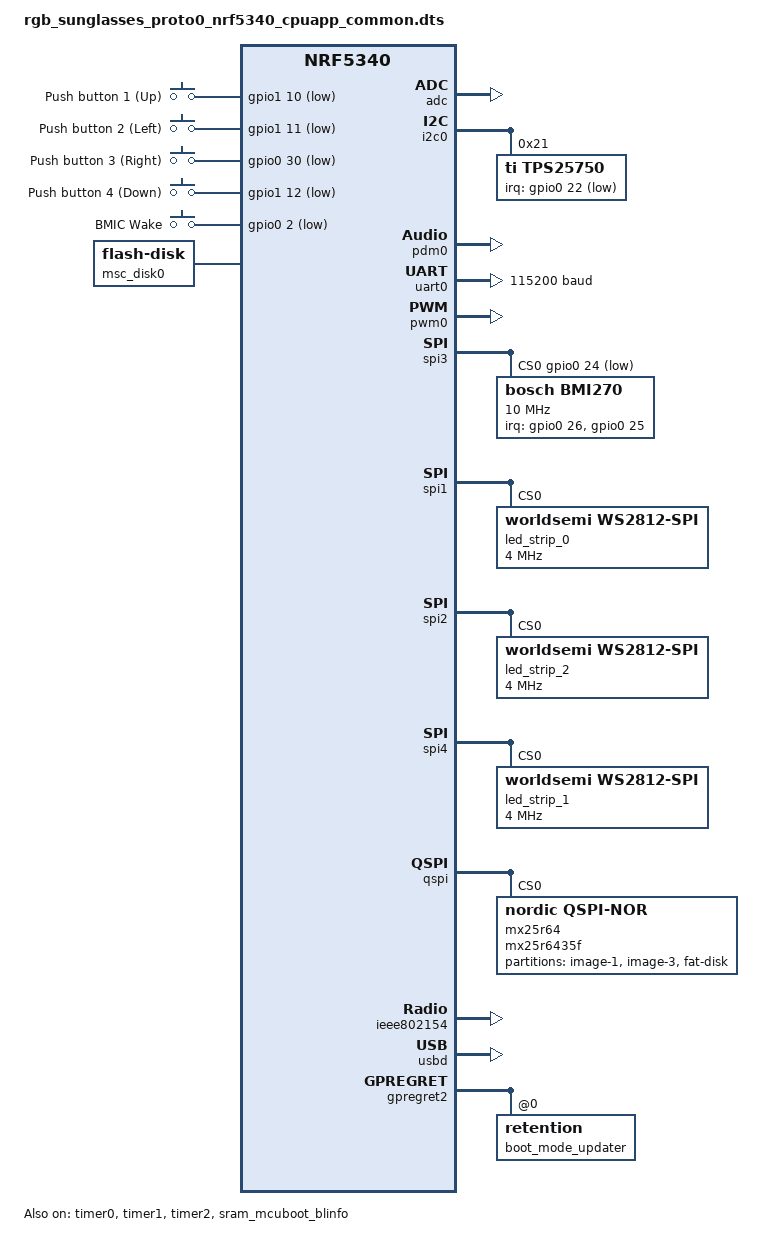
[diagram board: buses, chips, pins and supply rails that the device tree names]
/*
 * Copyright (c) 2019-2020 Nordic Semiconductor ASA
 *
 * SPDX-License-Identifier: Apache-2.0
 */
#include "rgb_sunglasses_proto0_nrf5340_cpuapp_common-pinctrl.dtsi"

#include <freq.h>
#include <zephyr/dt-bindings/led/led.h>
#include <zephyr/dt-bindings/spi/spi.h>

/ {

	chosen {
		zephyr,console = &cdc_acm_uart0;
		zephyr,shell-uart = &cdc_acm_uart0;
		zephyr,uart-mcumgr = &cdc_acm_uart1;
		//zephyr,bt-mon-uart = &uart0; // @skalldri what does this do?
		//zephyr,bt-c2h-uart = &uart0; // @skalldri what does this do?
		zephyr,bt-hci = &bt_hci_ipc0;
		nordic,802154-spinel-ipc = &ipc0;
		zephyr,ieee802154 = &ieee802154;
		nordic,pm-ext-flash = &mx25r64;
		/* Do NOT add zephyr,settings-partition here. NCS replaces flash_map_default.c with
		 * flash_map_partition_manager.c (PM IDs, not DTS IDs). flash_map_pm.h redefines
		 * FIXED_PARTITION_ID(storage_partition) → PM_SETTINGS_STORAGE_ID = 9, so
		 * settings_nvs.c's fallback path already routes to the correct external flash region
		 * at 0x11c000. Adding zephyr,settings-partition would switch to DT_FIXED_PARTITION_ID
		 * which collides with PM IDs and opens the wrong partition. */
	};

	/*leds {
		compatible = "gpio-leds";
		led0: led_0 {
			gpios = <&gpio0 28 GPIO_ACTIVE_LOW>;
			label = "Green LED 0";
		};
		led1: led_1 {
			gpios = <&gpio0 29 GPIO_ACTIVE_LOW>;
			label = "Green LED 1";
		};
		led2: led_2 {
			gpios = <&gpio0 30 GPIO_ACTIVE_LOW>;
			label = "Green LED 2";
		};
		led3: led_3 {
			gpios = <&gpio0 31 GPIO_ACTIVE_LOW>;
			label = "Green LED 3";
		};
	};*/

	/*pwmleds {
		compatible = "pwm-leds";
		pwm_led0: pwm_led_0 {
			pwms = <&pwm0 0 PWM_MSEC(20) PWM_POLARITY_INVERTED>;
		};
	};*/

	buttons {
		compatible = "gpio-keys";
		button0: button_0 {
			gpios = <&gpio1 10 (GPIO_PULL_UP | GPIO_ACTIVE_LOW)>;
			label = "Push button 1 (Up)";
		};
		button1: button_1 {
			gpios = <&gpio1 11 (GPIO_PULL_UP | GPIO_ACTIVE_LOW)>;
			label = "Push button 2 (Left)";
		};
		button2: button_2 {
			gpios = <&gpio0 30 (GPIO_PULL_UP | GPIO_ACTIVE_LOW)>;
			label = "Push button 3 (Right)";
		};
		button3: button_3 {
			gpios = <&gpio1 12 (GPIO_PULL_UP | GPIO_ACTIVE_LOW)>;
			label = "Push button 4 (Down)";
		};
		button4: bmic_wake {
			gpios = <&gpio0 2 (GPIO_PULL_UP | GPIO_ACTIVE_LOW)>;
			label = "BMIC Wake";
		};
	};

	gpio_fwd: nrf-gpio-forwarder {
		compatible = "nordic,nrf-gpio-forwarder";
		status = "okay";
		uart {
			gpios = <&gpio1 13 0>, <&gpio1 14 0>;
		};
	};

	/* These aliases are provided for compatibility with samples */
	aliases {
		/*led0 = &led0;
		led1 = &led1;
		led2 = &led2;
		led3 = &led3;
		pwm-led0 = &pwm_led0;*/
		sw0 = &button0;
		sw1 = &button1;
		sw2 = &button2;
		sw3 = &button3;
		sw-wake = &button4;
		/*bootloader-led0 = &led0;*/
		mcuboot-button0 = &button1;
		/*mcuboot-led0 = &led0;*/
		watchdog0 = &wdt0;
		led-strip-0 = &led_strip_0;
		led-strip-1 = &led_strip_1;
		led-strip-2 = &led_strip_2;
		spi-flash0 = &mx25r64;
		mic = &pdm0;
	};
};

/* configure VREGMAIN in DC/DC mode */
&vregmain {
	regulator-initial-mode = <NRF5X_REG_MODE_DCDC>;
};

/* configure VREGRADIO in DC/DC mode */
&vregradio {
	regulator-initial-mode = <NRF5X_REG_MODE_DCDC>;
};

/* mistake in the devkit. Didn't populate DCCH. Cannot use DCDC mode for the HV regulator */
&vregh {
	status = "disabled";
};

&adc {
	status = "okay";
};

&gpiote {
	status = "okay";
};

&gpio0 {
	status = "okay";
};

&gpio1 {
	status = "okay";
};

&i2c0 {
	compatible = "nordic,nrf-twim";
	status = "okay";
	pinctrl-0 = <&i2c0_default>;
	pinctrl-1 = <&i2c0_sleep>;
	pinctrl-names = "default", "sleep";

	tps25750: tps25750@21 {
		compatible = "ti,tps25750";
		reg = <0x21>; /* The address of the device in "normal" mode */
		patch-address = <0x15>; /* The address of the device during patch download */
		patch-chunk-size = <128>; /* the size of the packets sent during patch download */
		status = "okay";
		irq-gpios = <&gpio0 22 (GPIO_ACTIVE_LOW)>; /* Might need to add GPIO_PULL_UP or GPIO_PULL_DOWN here? */

		/* TPS25750 is also an I2C master. Define required properties */
		#address-cells = <1>;
		#size-cells = <0>;

		bq25792: bq25792@6b {
			compatible = "ti,bq25792";
			reg = <0x6B>;
			/* P1.04 = BQ25792 interrupt (active low) */
			irq-gpios = <&gpio1 4 (GPIO_ACTIVE_LOW)>;
			status = "okay";
		};
	};
};

&clock {
	hfclkaudio-frequency = <12288000>;
};

&pdm0 {
	status = "okay";
	pinctrl-0 = <&pdm0_default>;
	pinctrl-names = "default";
	/* Verified against real beat/fft_bars audio load (issue #75, k_mem_slab_max_used_get()):
	 * peak in-flight blocks stayed at 3 out of the previous 32+1 budget. 8 leaves ~2.6x margin. */
	queue-size = <8>;
	clock-source = "PCLK32M";
};

/* uart0 shares the hardware instance with i2c0 (TWIM0) on nRF5340 — cannot enable both.
 * The physical UART pins (P1.13=TX, P1.14=RX) are defined in pinctrl for future use,
 * but the peripheral is disabled here. Primary console is USB CDC ACM. */
&uart0 {
	//status = "okay";
	current-speed = <115200>;
	pinctrl-0 = <&uart0_default>;
	pinctrl-1 = <&uart0_sleep>;
	pinctrl-names = "default", "sleep";
};

&pwm0 {
	status = "okay";
	pinctrl-0 = <&pwm0_default>;
	pinctrl-1 = <&pwm0_sleep>;
	pinctrl-names = "default", "sleep";
};

&timer0 {
	status = "okay";
};

&timer1 {
	status = "okay";
};

&timer2 {
	status = "okay";
};

/* BMI270 6-axis IMU: P0.09=MOSI, P0.10=MISO, P0.12=SCK, P0.24=CS, P0.26=INT1, P0.25=INT2
 * Uses SPI3 (SPIM3): SPI0/SPIM0 shares the same hardware instance as I2C0/TWIM0 on nRF5340. */
&spi3 {
	status = "okay";
	pinctrl-0 = <&spi3_default>;
	pinctrl-1 = <&spi3_sleep>;
	pinctrl-names = "default", "sleep";
	cs-gpios = <&gpio0 24 GPIO_ACTIVE_LOW>;

	bmi270: bmi270@0 {
		compatible = "bosch,bmi270";
		reg = <0>;
		spi-max-frequency = <DT_FREQ_M(10)>;
		/* P0.26 = INT1, P0.25 = INT2 */
		irq-gpios = <&gpio0 26 GPIO_ACTIVE_HIGH>,
			    <&gpio0 25 GPIO_ACTIVE_HIGH>;
	};
};

led_strip_spi_0: &spi1 {
	status = "okay";
	pinctrl-0 = <&spi1_default>;
	pinctrl-1 = <&spi1_sleep>;
	pinctrl-names = "default", "sleep";

	// Attach our LED strip to SPI1
	led_strip_0: ws2812@0 {
		compatible = "worldsemi,ws2812-spi";
		status = "okay";

		/* SPI */
		reg = <0>; /* ignored, but necessary for SPI bindings */
		spi-max-frequency = <DT_FREQ_M(4)>;
		frame-format = <SPI_FRAME_FORMAT_TI>;

		/* WS2812 */
		chain-length = <216>; /* arbitrary; change at will */
		spi-one-frame = <0x70>;
		spi-zero-frame = <0x40>;
		color-mapping = <LED_COLOR_ID_GREEN LED_COLOR_ID_RED LED_COLOR_ID_BLUE>;
	};
};

/* Onboard status LEDs: 2x WS2812 on P1.01 */
led_strip_spi_2: &spi2 {
	status = "okay";
	pinctrl-0 = <&spi2_default>;
	pinctrl-1 = <&spi2_sleep>;
	pinctrl-names = "default", "sleep";

	led_strip_2: ws2812_2@0 {
		compatible = "worldsemi,ws2812-spi";
		status = "okay";

		/* SPI */
		reg = <0>;
		spi-max-frequency = <DT_FREQ_M(4)>;
		frame-format = <SPI_FRAME_FORMAT_TI>;

		/* WS2812 */
		chain-length = <2>;
		spi-one-frame = <0x70>;
		spi-zero-frame = <0x40>;
		color-mapping = <LED_COLOR_ID_GREEN LED_COLOR_ID_RED LED_COLOR_ID_BLUE>;
	};
};

led_strip_spi_1: &spi4 {
	status = "okay";
	pinctrl-0 = <&spi4_default>;
	pinctrl-1 = <&spi4_sleep>;
	pinctrl-names = "default", "sleep";

	// Attach our LED strip to SPI1
	led_strip_1: ws2812_1@0 {
		compatible = "worldsemi,ws2812-spi";
		status = "okay";

		/* SPI */
		reg = <0>; /* ignored, but necessary for SPI bindings */
		spi-max-frequency = <DT_FREQ_M(4)>;
		frame-format = <SPI_FRAME_FORMAT_TI>;

		/* WS2812 */
		chain-length = <216>; /* arbitrary; change at will */
		spi-one-frame = <0x70>;
		spi-zero-frame = <0x40>;
		color-mapping = <LED_COLOR_ID_GREEN LED_COLOR_ID_RED LED_COLOR_ID_BLUE>;
	};
};

/* FAT filesystem partition on the external QSPI flash, presented via USB Mass Storage.
 * Offset 0x12E000 within the MX25R64 device matches the PM fat_storage region.
 * The zephyr,flash-disk node wires this partition to the "NAND" disk driver so that
 * CONFIG_USB_MASS_STORAGE can expose it as a removable drive. */
/ {
	msc_disk0 {
		compatible = "zephyr,flash-disk";
		partition = <&fat_partition>;
		disk-name = "NAND";
		cache-size = <4096>;
	};
};

&qspi {
	status = "okay";
	pinctrl-0 = <&qspi_default>;
	pinctrl-1 = <&qspi_sleep>;
	pinctrl-names = "default", "sleep";

	/* MX25R6435F 64 Mbit QSPI NOR flash */
	mx25r64: mx25r6435f@0 {
		compatible = "nordic,qspi-nor";
		reg = <0>;
		/* proto0 has all 4 IO lines: use 4-bit read/write */
		writeoc = "pp4io";
		readoc = "read4io";
		sck-frequency = <8000000>;
		jedec-id = [c2 28 17];
		sfdp-bfp = [
			e5 20 f1 ff  ff ff ff 03  44 eb 08 6b  08 3b 04 bb
			ee ff ff ff  ff ff 00 ff  ff ff 00 ff  0c 20 0f 52
			10 d8 00 ff  23 72 f5 00  82 ed 04 cc  44 83 68 44
			30 b0 30 b0  f7 c4 d5 5c  00 be 29 ff  f0 d0 ff ff
		];
		size = <67108864>;
		has-dpd;
		t-enter-dpd = <10000>;
		t-exit-dpd = <35000>;

		partitions {
			compatible = "fixed-partitions";
			#address-cells = <1>;
			#size-cells = <1>;

			/* App core secondary (upgrade) slot — used by MCUboot for DFU staging.
			 * Matches PM slot1_partition at 0x0, size 0xDC000 (shrunk in lockstep
			 * with mcuboot_primary when the coredump partition was carved from the
			 * end of internal flash, issue #80). */
			slot1_partition: partition@0 {
				label = "image-1";
				reg = <0x000000 0xDC000>;
			};

			/* slot2_partition is the net core's primary partition
			 * for image 2. It is defined in the net_core_sim_flash.overlay
			 * file, which is included in the net core build. It doesn't actually
			 * exist in flash that is accessible to the app core. Instead, we
			 * have a "virtual flash" driver that pretends to be flash, allowing
			 * the mcumgr code on the app core to "read" the net core's TLVs
			 */

			slot3_partition: partition@dc000 {
				label = "image-3";
				reg = <0xDC000 0x40000>;
			};

			/* NVS settings at 0x11c000 (PM settings_storage, 32 KB) are NOT mapped here.
			 * NCS replaces Zephyr's flash_map_default.c with flash_map_partition_manager.c,
			 * so FIXED_PARTITION_ID(storage_partition) already resolves to PM_SETTINGS_STORAGE_ID=9
			 * (the correct external-flash region). Adding a DTS node and pointing
			 * zephyr,settings-partition at it would switch settings_nvs.c to DT_FIXED_PARTITION_ID,
			 * which uses sequential DTS slot numbers that collide with PM IDs. */

			/* ~6.9 MB FAT partition — matches PM fat_storage region (0x124000, 0x6dc000);
			 * consumes all external flash after settings_storage (issue #80).
			 * Referenced by the msc_disk0 flash-disk node above. */
			fat_partition: partition@124000 {
				label = "fat-disk";
				reg = <0x124000 0x6dc000>;
			};
		};
	};
};

/* WARNING: these partition definitions do nothing because we are always building in multi-image mode, so we instead use Nordic's "Partition manager" */
&flash0 {
	status = "okay";
	partitions {
		compatible = "fixed-partitions";
		#address-cells = <1>;
		#size-cells = <1>;

		boot_partition: partition@0 {
			label = "mcuboot";
			reg = <0x00000000 0x00014200>;
		};
		/* The app core's primary slot (image-0) is at 0x14200, size 0xDBE00.
		 * This is the region that the app core boots from.
		 * It resides in the NRF5340's internal flash, and is used by MCUboot to
		 * store the main application image.
		 */
		slot0_partition: partition@14200 {
			label = "image-0";
			reg = <0x00014200 0x000DBE00>;
		};
	};
};

&ieee802154 {
	status = "okay";
};

zephyr_udc0: &usbd {
	compatible = "nordic,nrf-usbd";
	status = "okay";

	/* Add a USB UART device */
	cdc_acm_uart0: cdc_acm_uart0 {
		compatible = "zephyr,cdc-acm-uart";
		/* label becomes this interface's USB iInterface string descriptor
		 * (see zephyr,cdc-acm-uart.yaml) -- distinguishes this COM port from
		 * cdc_acm_uart1 on the host instead of both showing up as a generic,
		 * duplicated class name (issue #107). */
		label = "RGB Sunglasses Proto0 - Shell";
	};

	cdc_acm_uart1: cdc_acm_uart1 {
		compatible = "zephyr,cdc-acm-uart";
		label = "RGB Sunglasses Proto0 - MCUMgr";
		/* hw-flow-control makes poll_out block instead of silently dropping bytes
		 * when the TX FIFO is full. Required for large SMP responses (taskstat etc.)
		 * that exceed the default 1024-byte FIFO before USB drains it.
		 * tx-fifo-size is set large enough to hold a full taskstat response (~2 KB)
		 * without ever needing to block. */
		hw-flow-control;
		tx-fifo-size = <4096>;
	};
};

/ {
	reserved-memory {
		#address-cells = <1>;
		#size-cells = <1>;
		ranges;

		sram0_image: image@20000000 {
			/* Zephyr image(s) memory */
		};

		sram0_s: image_s@20000000 {
			/* Secure image memory */
		};

		sram0_ns: image_ns@20040000 {
			/* Non-Secure image memory */
		};
	};
};

/* Retained memory for MCUboot blinfo shared data.
 * 256 bytes at the top of sram0_ns (0x2006ff00–0x20070000), excluded from BSS zeroing.
 * MCUboot writes its version here at boot; the app reads it via blinfo_lookup(). */
/ {
	sram_mcuboot_blinfo: sram@2006ff00 {
		compatible = "zephyr,memory-region", "mmio-sram";
		reg = <0x2006ff00 0x100>;
		zephyr,memory-region = "McubootRetainedMem";
		status = "okay";

		retainedmem {
			compatible = "zephyr,retained-ram";
			status = "okay";
			#address-cells = <1>;
			#size-cells = <1>;

			boot_info0: boot_info@0 {
				compatible = "zephyr,retention";
				status = "okay";
				reg = <0x0 0x100>;
			};
		};
	};

	chosen {
		zephyr,bootloader-info = &boot_info0;
	};
};

/* gpregret2 — one-byte retention register used as the BLE bootloader-updater
 * boot-mode flag.  The hook in fw/mcuboot_hooks/fprotect_hook.c writes
 * BOOT_MODE_UPDATER_ACTIVE (0xB2) here when it skips fprotect; the app
 * reads it back via bootmode_check() to confirm the region is writable.
 * gpregret1 is deliberately left free for generic NCS serial-recovery use. */
&gpregret2 {
	boot_mode_updater: boot_mode@0 {
		compatible = "zephyr,retention";
		status = "okay";
		reg = <0x0 0x1>;
	};
};

/ {
	chosen {
		zephyr,boot-mode = &boot_mode_updater;
	};
};

/* Include partition configuration file */
#include "rgb_sunglasses_proto0_nrf5340_cpuapp_partition_conf.dts"
